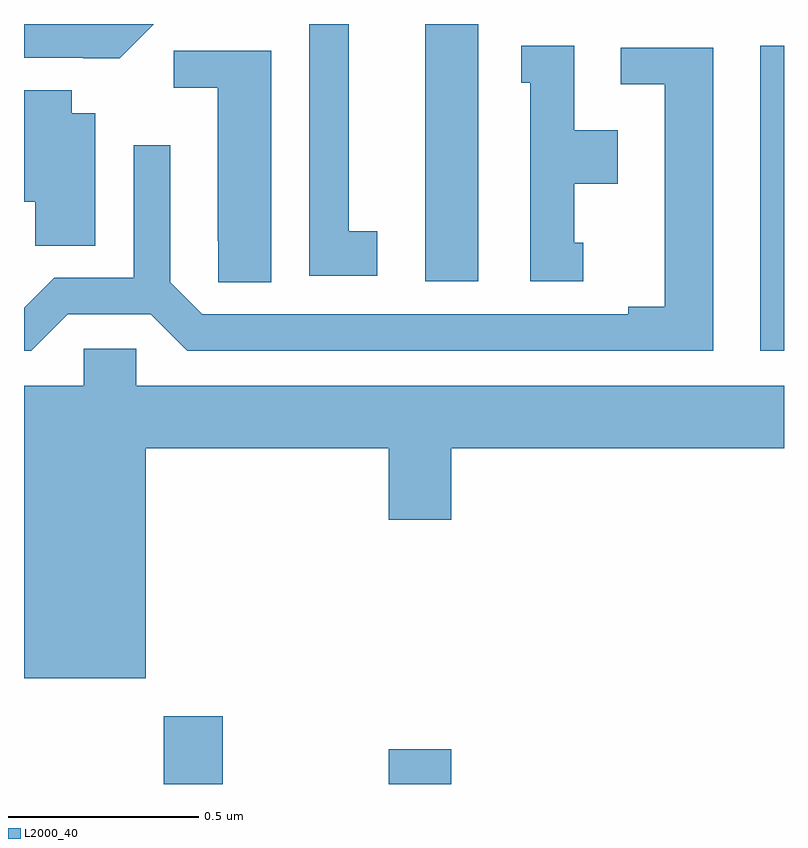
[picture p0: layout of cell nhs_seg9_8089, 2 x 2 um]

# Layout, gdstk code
import gdstk
lib = gdstk.Library(unit=1e-6, precision=1e-09)
def R(c, l, rs):  # rectangles x0, y0, x1, y1
    for r in rs: c.add(gdstk.rectangle(r[:2], r[2:], *l))
def P(c, l, *ps):  # polygons
    for p in ps: c.add(gdstk.Polygon(p, *l))
L2000_40 = (2000, 40)

nhs_seg9_8089 = lib.new_cell('nhs_seg9_8089')
R(nhs_seg9_8089, L2000_40, [(212.368,1231.5,212.523,1231.678), (212.96,1231.5,213.124,1231.591), (213.938,1232.64,214,1233.443), (213.056,1232.823,213.196,1233.5)])
P(nhs_seg9_8089, L2000_40, [(212.342,1233.5),(212,1233.5),(212,1233.411),(212.156,1233.411),(212.156,1233.41),(212.252,1233.41)],
  [(212.929,1232.954),(212.854,1232.954),(212.854,1233.5),(212.75,1233.5),(212.75,1232.838),(212.929,1232.838)],
  [(213.472,1232.925),(213.448,1232.925),(213.448,1233.08),(213.562,1233.08),(213.562,1233.22),(213.448,1233.22),(213.448,1233.443),(213.308,1233.443),(213.308,1233.345),(213.332,1233.345),(213.332,1232.823),(213.472,1232.823)],
  [(212.115,1232.736),(212.333,1232.736),(212.429,1232.64),(213.814,1232.64),(213.814,1233.438),(213.57,1233.438),(213.57,1233.342),(213.686,1233.342),(213.686,1232.756),(213.59,1232.756),(213.59,1232.736),(212.469,1232.736),(212.385,1232.82),(212.385,1233.181),(212.289,1233.181),(212.289,1232.832),(212.079,1232.832),(212,1232.753),(212,1232.64),(212.019,1232.64)],
  [(212.65,1233.429),(212.394,1233.429),(212.394,1233.332),(212.51,1233.332),(212.51,1232.929),(212.511,1232.929),(212.511,1232.821),(212.65,1232.821)],
  [(212.188,1233.265),(212.125,1233.265),(212.125,1233.326),(212,1233.326),(212,1233.032),(212.03,1233.032),(212.03,1232.917),(212.188,1232.917)],
  [(212.32,1232.384),(212.96,1232.384),(212.96,1232.196),(213.124,1232.196),(213.124,1232.384),(214,1232.384),(214,1232.548),(212.295,1232.548),(212.295,1232.646),(212.157,1232.646),(212.157,1232.548),(212,1232.548),(212,1231.778),(212.32,1231.778)])

lib.write_gds('nhs_seg9_8089.gds')
